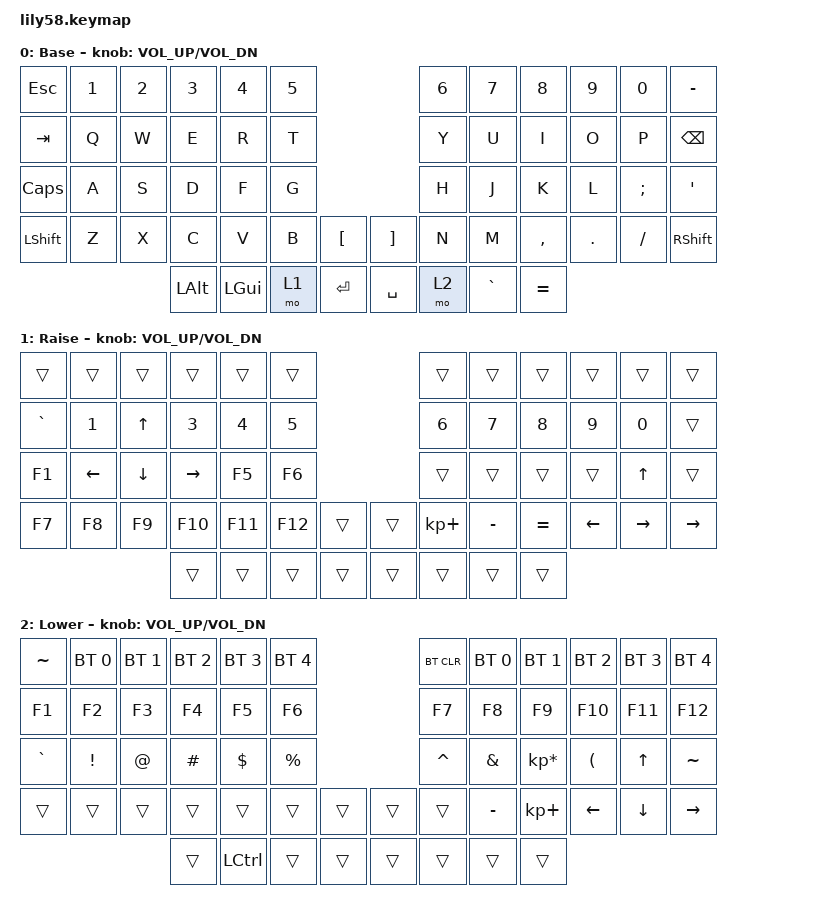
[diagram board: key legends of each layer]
/*
 * Copyright (c) 2020 The ZMK Contributors
 *
 * SPDX-License-Identifier: MIT
 */

#include <behaviors.dtsi>
#include <dt-bindings/zmk/bt.h>
#include <dt-bindings/zmk/keys.h>

/ {
    keymap {
        compatible = "zmk,keymap";

        default_layer {
            // ------------------------------------------------------------------------------------------------------------
            // |  ESC  |  1  |  2  |  3   |  4   |  5   |                   |  6   |  7    |  8    |  9   |   0   |   `   |
            // |  TAB  |  Q  |  W  |  E   |  R   |  T   |                   |  Y   |  U    |  I    |  O   |   P   |   -   |
            // |  CTRL |  A  |  S  |  D   |  F   |  G   |                   |  H   |  J    |  K    |  L   |   ;   |   '   |
            // | SHIFT |  Z  |  X  |  C   |  V   |  B   |   "["  |  |  "]"  |  N   |  M    |  ,    |  .   |   /   | SHIFT |
            //                     | ALT  | GUI  | LOWER|  SPACE |  | ENTER | RAISE| BSPC  | GUI   |

            display-name = "Base";
            bindings = <
&kp ESCAPE  &kp N1  &kp N2  &kp N3    &kp N4    &kp N5                          &kp N6  &kp N7     &kp N8     &kp N9   &kp N0    &kp MINUS
&kp TAB     &kp Q   &kp W   &kp E     &kp R     &kp T                           &kp Y   &kp U      &kp I      &kp O    &kp P     &kp BACKSPACE
&kp CAPS    &kp A   &kp S   &kp D     &kp F     &kp G                           &kp H   &kp J      &kp K      &kp L    &kp SEMI  &kp SQT
&kp LSHFT   &kp Z   &kp X   &kp C     &kp V     &kp B   &kp LBKT     &kp RBKT   &kp N   &kp M      &kp COMMA  &kp DOT  &kp FSLH  &kp RSHFT
                            &kp LALT  &kp LGUI  &mo 1   &kp ENTER    &kp SPACE  &mo 2   &kp GRAVE  &kp EQUAL
            >;

            sensor-bindings = <&inc_dec_kp C_VOL_UP C_VOL_DN>;
        };

        raise_layer {
            // ------------------------------------------------------------------------------------------------------------
            // |       |     |     |      |      |      |                   |      |       |       |      |       |       |
            // |   `   |  1  |  2  |  3   |  4   |  5   |                   |  6   |   7   |   8   |  9   |   0   |       |
            // |   F1  |  F2 |  F3 |  F4  |  F5  |  F6  |                   |      |   <-  |   v   |  ^   |  ->   |       |
            // |   F7  |  F8 |  F9 |  F10 |  F11 |  F12 |        |  |       |  +   |   -   |   =   |  [   |   ]   |   \   |
            //                     |      |      |      |        |  |       |      |       |       |

            display-name = "Raise";
            bindings = <
&trans     &trans    &trans          &trans     &trans   &trans                     &trans       &trans     &trans     &trans    &trans        &trans
&kp GRAVE  &kp N1    &kp UP_ARROW    &kp N3     &kp N4   &kp N5                     &kp N6       &kp N7     &kp N8     &kp N9    &kp N0        &trans
&kp F1     &kp LEFT  &kp DOWN_ARROW  &kp RIGHT  &kp F5   &kp F6                     &trans       &trans     &trans     &trans    &kp UP_ARROW  &trans
&kp F7     &kp F8    &kp F9          &kp F10    &kp F11  &kp F12  &trans    &trans  &kp KP_PLUS  &kp MINUS  &kp EQUAL  &kp LEFT  &kp RIGHT     &kp RIGHT
                                     &trans     &trans   &trans   &trans    &trans  &trans       &trans     &trans
            >;

            sensor-bindings = <&inc_dec_kp C_VOL_UP C_VOL_DN>;
        };

        lower_layer {
            // ------------------------------------------------------------------------------------------------------------
            // | BTCLR | BT1 | BT2 |  BT3 |  BT4 |  BT5 |                   |      |       |       |      |       |       |
            // |  F1   |  F2 |  F3 |  F4  |  F5  |  F6  |                   |  F7  |  F8   |  F9   |  F10 |  F11  |  F12  |
            // |   `   |  !  |  @  |  #   |  $   |  %   |                   |  ^   |  &    |  *    |  (   |   )   |   ~   |
            // |       |     |     |      |      |      |        |  |       |      |  _    |  +    |  {   |   }   |  "|"  |
            //                     |      |      |      |        |  |       |      |       |       |

            display-name = "Lower";
            bindings = <
&kp TILDE  &bt BT_SEL 0  &bt BT_SEL 1  &bt BT_SEL 2  &bt BT_SEL 3  &bt BT_SEL 4                    &bt BT_CLR  &bt BT_SEL 0  &bt BT_SEL 1     &bt BT_SEL 2  &bt BT_SEL 3  &bt BT_SEL 4
&kp F1     &kp F2        &kp F3        &kp F4        &kp F5        &kp F6                          &kp F7      &kp F8        &kp F9           &kp F10       &kp F11       &kp F12
&kp GRAVE  &kp EXCL      &kp AT        &kp HASH      &kp DOLLAR    &kp PRCNT                       &kp CARET   &kp AMPS      &kp KP_MULTIPLY  &kp LPAR      &kp UP        &kp TILDE
&trans     &trans        &trans        &trans        &trans        &trans        &trans    &trans  &trans      &kp MINUS     &kp KP_PLUS      &kp LEFT      &kp DOWN      &kp RIGHT
                                       &trans        &kp LCTRL     &trans        &trans    &trans  &trans      &trans        &trans
            >;

            sensor-bindings = <&inc_dec_kp C_VOL_UP C_VOL_DN>;
        };
    };
};
